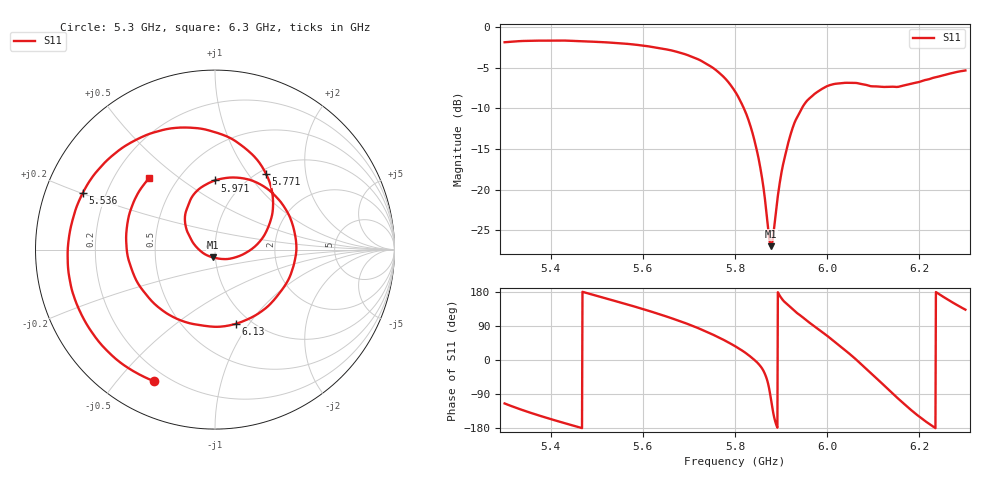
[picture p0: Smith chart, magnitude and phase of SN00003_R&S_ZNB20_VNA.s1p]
#  HZ  S  RI  R  50.00
! Rohde & Schwarz Vector Network Analyzer
! Rohde-Schwarz,ZNB20-2Port,1311601062101736,3.50
! Created: UTC 3/2/2026, 5:03:50 PM
! freq[Hz]  re:S11  im:S11
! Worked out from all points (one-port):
!   1001 points, 5.3 GHz to 6.3 GHz, reference 50 ohm
!   lowest |S11| = -27.0 dB at 5.878 GHz (marker M1), VSWR 1.09, Z = 48.8 - j4.28 ohm
!   |S11| at or under -10 dB: 5.819 GHz to 5.945 GHz (125.7 MHz wide, 2.14 % of centre)
!   S11 on the Smith chart (normalised r, x): 5.3 GHz: 0.15, -0.63; 5.536 GHz: 0.11, +0.20; 5.771 GHz: 1.08, +1.22; 5.971 GHz: 0.74, +0.67; 6.13 GHz: 0.85, -0.87; 6.3 GHz: 0.35, +0.39
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5.3e9  -0.3373 -0.734
5.361e9  -0.6435 -0.5175
5.425e9  -0.7996 -0.2162
5.478e9  -0.8166 0.0454
5.536e9  -0.7375 0.3141
5.55e9  -0.7051 0.3719
5.616e9  -0.473 0.5938
5.675e9  -0.1811 0.6802
5.723e9  0.0813 0.6234
5.771e9  0.2853 0.4199
5.8e9  0.3233 0.24
5.844e9  0.1914 -0.00612
5.858e9  0.1133 -0.0432
5.873e9  0.0195 -0.0501
5.878e9  -0.0101 -0.0437
5.883e9  -0.0399 -0.0339
5.902e9  -0.1255 0.0431
5.925e9  -0.1678 0.1708
5.971e9  -0.00108 0.385
6.008e9  0.2458 0.367
6.05e9  0.4387 0.1158
6.085e9  0.4043 -0.1761
6.13e9  0.115 -0.4137
6.175e9  -0.2512 -0.3658
6.206e9  -0.4231 -0.198
6.233e9  -0.4901 -0.0151
6.264e9  -0.478 0.1954
6.3e9  -0.3685 0.3969
